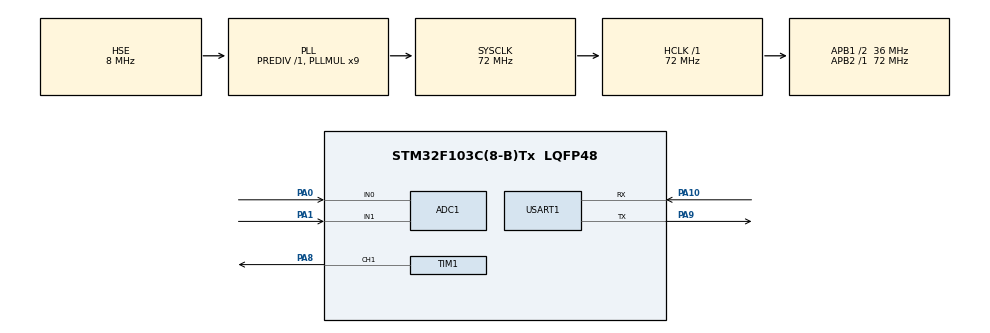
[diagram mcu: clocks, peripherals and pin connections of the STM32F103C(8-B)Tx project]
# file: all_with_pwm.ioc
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ADC1.Channel-0\#ChannelRegularConversion=ADC_CHANNEL_0
ADC1.Channel-1\#ChannelRegularConversion=ADC_CHANNEL_1
ADC1.NbrOfConversion=2
ADC1.NbrOfConversionFlag=1
ADC1.Rank-0\#ChannelRegularConversion=1
ADC1.Rank-1\#ChannelRegularConversion=2
ADC1.SamplingTime-0\#ChannelRegularConversion=ADC_SAMPLETIME_71CYCLES_5
ADC1.SamplingTime-1\#ChannelRegularConversion=ADC_SAMPLETIME_71CYCLES_5
ADC1.master=1
Dma.ADC1.0.Direction=DMA_PERIPH_TO_MEMORY
Dma.ADC1.0.Instance=DMA1_Channel1
Dma.ADC1.0.MemDataAlignment=DMA_MDATAALIGN_WORD
Dma.ADC1.0.MemInc=DMA_MINC_ENABLE
Dma.ADC1.0.Mode=DMA_CIRCULAR
Dma.ADC1.0.PeriphDataAlignment=DMA_PDATAALIGN_WORD
Dma.ADC1.0.PeriphInc=DMA_PINC_DISABLE
Dma.ADC1.0.Priority=DMA_PRIORITY_LOW
Dma.Request0=ADC1
Mcu.Family=STM32F1
Mcu.Name=STM32F103C(8-B)Tx
Mcu.Package=LQFP48
NVIC.ADC1_2_IRQn=true\:0\:0\:false\:false\:true\:true
NVIC.DMA1_Channel1_IRQn=true\:0\:0\:false\:false\:true\:false
NVIC.PriorityGroup=NVIC_PRIORITYGROUP_4
NVIC.USART1_IRQn=true\:0\:0\:false\:false\:true\:true
PA0-WKUP.Signal=ADCx_IN0
PA1.Signal=ADCx_IN1
PA10.Mode=Asynchronous
PA10.Signal=USART1_RX
PA13.Mode=Serial_Wire
PA13.Signal=SYS_JTMS-SWDIO
PA14.Mode=Serial_Wire
PA14.Signal=SYS_JTCK-SWCLK
PA8.Signal=S_TIM1_CH1
PA9.Mode=Asynchronous
PA9.Signal=USART1_TX
PD0-OSC_IN.Mode=HSE-External-Oscillator
PD0-OSC_IN.Signal=RCC_OSC_IN
PD1-OSC_OUT.Mode=HSE-External-Oscillator
PD1-OSC_OUT.Signal=RCC_OSC_OUT
ProjectManager.HeapSize=0x200
ProjectManager.StackSize=0x400
ProjectManager.TargetToolchain=MDK-ARM V5
RCC.ADCPresc=RCC_ADCPCLK2_DIV6
RCC.AHBFreq_Value=72000000
RCC.APB1CLKDivider=RCC_HCLK_DIV2
RCC.APB1Freq_Value=36000000
RCC.APB1TimFreq_Value=72000000
RCC.APB2Freq_Value=72000000
RCC.APB2TimFreq_Value=72000000
RCC.HCLKFreq_Value=72000000
RCC.PLLMUL=RCC_PLL_MUL9
RCC.PLLSourceVirtual=RCC_PLLSOURCE_HSE
RCC.SYSCLKFreq_VALUE=72000000
RCC.SYSCLKSource=RCC_SYSCLKSOURCE_PLLCLK
RCC.USBFreq_Value=72000000
SH.ADCx_IN0.0=ADC1_IN0,IN0
SH.ADCx_IN1.0=ADC1_IN1,IN1
SH.S_TIM1_CH1.0=TIM1_CH1,PWM Generation1 CH1
TIM1.Channel-PWM\ Generation1\ CH1=TIM_CHANNEL_1
TIM1.Period=4000
TIM1.Prescaler=71
USART1.VirtualMode=VM_ASYNC
board=all_with_pwm

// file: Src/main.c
/**
  ******************************************************************************
  * File Name          : main.c
  * Description        : Main program body
  ******************************************************************************
  ** This notice applies to any and all portions of this file
  * that are not between comment pairs USER CODE BEGIN and
  * USER CODE END. Other portions of this file, whether
  * inserted by the user or by software development tools
  * are owned by their respective copyright owners.
  *
  * COPYRIGHT(c) 2017 STMicroelectronics
  *
  * Redistribution and use in source and binary forms, with or without modification,
  * are permitted provided that the following conditions are met:
  *   1. Redistributions of source code must retain the above copyright notice,
  *      this list of conditions and the following disclaimer.
  *   2. Redistributions in binary form must reproduce the above copyright notice,
  *      this list of conditions and the following disclaimer in the documentation
  *      and/or other materials provided with the distribution.
  *   3. Neither the name of STMicroelectronics nor the names of its contributors
  *      may be used to endorse or promote products derived from this software
  *      without specific prior written permission.
  *
  * THIS SOFTWARE IS PROVIDED BY THE COPYRIGHT HOLDERS AND CONTRIBUTORS "AS IS"
  * AND ANY EXPRESS OR IMPLIED WARRANTIES, INCLUDING, BUT NOT LIMITED TO, THE
  * IMPLIED WARRANTIES OF MERCHANTABILITY AND FITNESS FOR A PARTICULAR PURPOSE ARE
  * DISCLAIMED. IN NO EVENT SHALL THE COPYRIGHT HOLDER OR CONTRIBUTORS BE LIABLE
  * FOR ANY DIRECT, INDIRECT, INCIDENTAL, SPECIAL, EXEMPLARY, OR CONSEQUENTIAL
  * DAMAGES (INCLUDING, BUT NOT LIMITED TO, PROCUREMENT OF SUBSTITUTE GOODS OR
  * SERVICES; LOSS OF USE, DATA, OR PROFITS; OR BUSINESS INTERRUPTION) HOWEVER
  * CAUSED AND ON ANY THEORY OF LIABILITY, WHETHER IN CONTRACT, STRICT LIABILITY,
  * OR TORT (INCLUDING NEGLIGENCE OR OTHERWISE) ARISING IN ANY WAY OUT OF THE USE
  * OF THIS SOFTWARE, EVEN IF ADVISED OF THE POSSIBILITY OF SUCH DAMAGE.
  *
  ******************************************************************************
  */
#include "main.h"
#include "stm32f1xx_hal.h"
#include "string.h"

ADC_HandleTypeDef hadc1;
DMA_HandleTypeDef hdma_adc1;

TIM_HandleTypeDef htim1;

UART_HandleTypeDef huart1;

/* USER CODE BEGIN PV */
/* Private variables ---------------------------------------------------------*/

/* USER CODE END PV */

void SystemClock_Config(void);
static void MX_GPIO_Init(void);
static void MX_DMA_Init(void);
static void MX_ADC1_Init(void);
static void MX_USART1_UART_Init(void);
static void MX_TIM1_Init(void);

void HAL_TIM_MspPostInit(TIM_HandleTypeDef *htim);
void HAL_ADC_ConvCpltCallback(ADC_HandleTypeDef* hadc);
void HAL_UART_RxCpltCallback(UART_HandleTypeDef *huart);
void check_commond(char* Rx_Buffer);
void pwmWrite(int time);

uint32_t joystick_X,joystick_Y,ADC_BUF[2];
char Rx_indx, Rx_data[2], Rx_Buffer[100], Transfer_cplt;
int pwm;
/* USER CODE BEGIN PFP */
/* Private function prototypes -----------------------------------------------*/

/* USER CODE END PFP */
//printf setting////////////////////////////////////////////////////////////////////////////
#ifdef __GNUC__
  /* With GCC/RAISONANCE, small printf (option LD Linker->Libraries->Small printf
     set to 'Yes') calls __io_putchar() */
  #define PUTCHAR_PROTOTYPE int __io_putchar(int ch)
#else
  #define PUTCHAR_PROTOTYPE int fputc(int ch, FILE *f)
#endif /* __GNUC__ */
/**
  * @brief  Retargets the C library printf function to the USART.
  * @param  None
  * @retval None
  */
PUTCHAR_PROTOTYPE
{
  /* Place your implementation of fputc here */
  /* e.g. write a character to the EVAL_COM1 and Loop until the end of transmission */
  HAL_UART_Transmit(&huart1, (uint8_t *)&ch, 1, 0xFFFF);

  return ch;
}
//////////////////////////////////////////////////////////////////////////////////////////////
/* USER CODE BEGIN 0 */
void HAL_TIM_PeriodElapsedCallback(TIM_HandleTypeDef *htim)
{

}
/* USER CODE END 0 */

int main(void)
{

  /* MCU Configuration----------------------------------------------------------*/

  /* Reset of all peripherals, Initializes the Flash interface and the Systick. */
  HAL_Init();

  /* Configure the system clock */
  SystemClock_Config();

  /* Initialize all configured peripherals */
  MX_GPIO_Init();
  MX_DMA_Init();
  MX_ADC1_Init();
  MX_USART1_UART_Init();
  MX_TIM1_Init();

  /* USER CODE BEGIN 2 */
	HAL_UART_Receive_IT(&huart1,(uint8_t*)Rx_data,1);
  HAL_ADC_Start_DMA(&hadc1,(uint32_t*)ADC_BUF,2);
	HAL_ADC_Start_IT(&hadc1);
  HAL_TIM_PWM_Start(&htim1,TIM_CHANNEL_1);
	/* USER CODE END 2 */

  /* Infinite loop */
  while (1)
  {

  /* USER CODE BEGIN 3 */
	HAL_ADC_Start_IT(&hadc1);
	pwmWrite(pwm);
	HAL_Delay(5);
  }
  /* USER CODE END 3 */

}

/** System Clock Configuration
*/
void SystemClock_Config(void)
{

  RCC_OscInitTypeDef RCC_OscInitStruct;
  RCC_ClkInitTypeDef RCC_ClkInitStruct;
  RCC_PeriphCLKInitTypeDef PeriphClkInit;

    /**Initializes the CPU, AHB and APB busses clocks
    */
  RCC_OscInitStruct.OscillatorType = RCC_OSCILLATORTYPE_HSE;
  RCC_OscInitStruct.HSEState = RCC_HSE_ON;
  RCC_OscInitStruct.HSEPredivValue = RCC_HSE_PREDIV_DIV1;
  RCC_OscInitStruct.HSIState = RCC_HSI_ON;
  RCC_OscInitStruct.PLL.PLLState = RCC_PLL_ON;
  RCC_OscInitStruct.PLL.PLLSource = RCC_PLLSOURCE_HSE;
  RCC_OscInitStruct.PLL.PLLMUL = RCC_PLL_MUL9;
  if (HAL_RCC_OscConfig(&RCC_OscInitStruct) != HAL_OK)
  {
    _Error_Handler(__FILE__, __LINE__);
  }

    /**Initializes the CPU, AHB and APB busses clocks
    */
  RCC_ClkInitStruct.ClockType = RCC_CLOCKTYPE_HCLK|RCC_CLOCKTYPE_SYSCLK
                              |RCC_CLOCKTYPE_PCLK1|RCC_CLOCKTYPE_PCLK2;
  RCC_ClkInitStruct.SYSCLKSource = RCC_SYSCLKSOURCE_PLLCLK;
  RCC_ClkInitStruct.AHBCLKDivider = RCC_SYSCLK_DIV1;
  RCC_ClkInitStruct.APB1CLKDivider = RCC_HCLK_DIV2;
  RCC_ClkInitStruct.APB2CLKDivider = RCC_HCLK_DIV1;

  if (HAL_RCC_ClockConfig(&RCC_ClkInitStruct, FLASH_LATENCY_2) != HAL_OK)
  {
    _Error_Handler(__FILE__, __LINE__);
  }

  PeriphClkInit.PeriphClockSelection = RCC_PERIPHCLK_ADC;
  PeriphClkInit.AdcClockSelection = RCC_ADCPCLK2_DIV6;
  if (HAL_RCCEx_PeriphCLKConfig(&PeriphClkInit) != HAL_OK)
  {
    _Error_Handler(__FILE__, __LINE__);
  }

    /**Configure the Systick interrupt time
    */
  HAL_SYSTICK_Config(HAL_RCC_GetHCLKFreq()/1000);

    /**Configure the Systick
    */
  HAL_SYSTICK_CLKSourceConfig(SYSTICK_CLKSOURCE_HCLK);

  /* SysTick_IRQn interrupt configuration */
  HAL_NVIC_SetPriority(SysTick_IRQn, 0, 0);
}

/* ADC1 init function */
static void MX_ADC1_Init(void)
{

  ADC_ChannelConfTypeDef sConfig;

    /**Common config
    */
  hadc1.Instance = ADC1;
  hadc1.Init.ScanConvMode = ADC_SCAN_ENABLE;
  hadc1.Init.ContinuousConvMode = DISABLE;
  hadc1.Init.DiscontinuousConvMode = DISABLE;
  hadc1.Init.ExternalTrigConv = ADC_SOFTWARE_START;
  hadc1.Init.DataAlign = ADC_DATAALIGN_RIGHT;
  hadc1.Init.NbrOfConversion = 2;
  if (HAL_ADC_Init(&hadc1) != HAL_OK)
  {
    _Error_Handler(__FILE__, __LINE__);
  }

    /**Configure Regular Channel
    */
  sConfig.Channel = ADC_CHANNEL_0;
  sConfig.Rank = 1;
  sConfig.SamplingTime = ADC_SAMPLETIME_71CYCLES_5;
  if (HAL_ADC_ConfigChannel(&hadc1, &sConfig) != HAL_OK)
  {
    _Error_Handler(__FILE__, __LINE__);
  }

    /**Configure Regular Channel
    */
  sConfig.Channel = ADC_CHANNEL_1;
  sConfig.Rank = 2;
  if (HAL_ADC_ConfigChannel(&hadc1, &sConfig) != HAL_OK)
  {
    _Error_Handler(__FILE__, __LINE__);
  }

}

/* TIM1 init function */
static void MX_TIM1_Init(void)
{

  TIM_MasterConfigTypeDef sMasterConfig;
  TIM_OC_InitTypeDef sConfigOC;
  TIM_BreakDeadTimeConfigTypeDef sBreakDeadTimeConfig;

  htim1.Instance = TIM1;
  htim1.Init.Prescaler = 72-1;
  htim1.Init.CounterMode = TIM_COUNTERMODE_UP;
  htim1.Init.Period = 20000-1;
  htim1.Init.ClockDivision = TIM_CLOCKDIVISION_DIV1;
  htim1.Init.RepetitionCounter = 0;
  htim1.Init.AutoReloadPreload = TIM_AUTORELOAD_PRELOAD_DISABLE;
  if (HAL_TIM_PWM_Init(&htim1) != HAL_OK)
  {
    _Error_Handler(__FILE__, __LINE__);
  }

  sMasterConfig.MasterOutputTrigger = TIM_TRGO_RESET;
  sMasterConfig.MasterSlaveMode = TIM_MASTERSLAVEMODE_DISABLE;
  if (HAL_TIMEx_MasterConfigSynchronization(&htim1, &sMasterConfig) != HAL_OK)
  {
    _Error_Handler(__FILE__, __LINE__);
  }

  sConfigOC.OCMode = TIM_OCMODE_PWM1;
  sConfigOC.Pulse = 0;
  sConfigOC.OCPolarity = TIM_OCPOLARITY_HIGH;
  sConfigOC.OCNPolarity = TIM_OCNPOLARITY_HIGH;
  sConfigOC.OCFastMode = TIM_OCFAST_DISABLE;
  sConfigOC.OCIdleState = TIM_OCIDLESTATE_RESET;
  sConfigOC.OCNIdleState = TIM_OCNIDLESTATE_RESET;
  if (HAL_TIM_PWM_ConfigChannel(&htim1, &sConfigOC, TIM_CHANNEL_1) != HAL_OK)
  {
    _Error_Handler(__FILE__, __LINE__);
  }

  sBreakDeadTimeConfig.OffStateRunMode = TIM_OSSR_DISABLE;
  sBreakDeadTimeConfig.OffStateIDLEMode = TIM_OSSI_DISABLE;
  sBreakDeadTimeConfig.LockLevel = TIM_LOCKLEVEL_OFF;
  sBreakDeadTimeConfig.DeadTime = 0;
  sBreakDeadTimeConfig.BreakState = TIM_BREAK_DISABLE;
  sBreakDeadTimeConfig.BreakPolarity = TIM_BREAKPOLARITY_HIGH;
  sBreakDeadTimeConfig.AutomaticOutput = TIM_AUTOMATICOUTPUT_DISABLE;
  if (HAL_TIMEx_ConfigBreakDeadTime(&htim1, &sBreakDeadTimeConfig) != HAL_OK)
  {
    _Error_Handler(__FILE__, __LINE__);
  }

  HAL_TIM_MspPostInit(&htim1);

}

/* USART1 init function */
static void MX_USART1_UART_Init(void)
{

  huart1.Instance = USART1;
  huart1.Init.BaudRate = 115200;
  huart1.Init.WordLength = UART_WORDLENGTH_8B;
  huart1.Init.StopBits = UART_STOPBITS_1;
  huart1.Init.Parity = UART_PARITY_NONE;
  huart1.Init.Mode = UART_MODE_TX_RX;
  huart1.Init.HwFlowCtl = UART_HWCONTROL_NONE;
  huart1.Init.OverSampling = UART_OVERSAMPLING_16;
  if (HAL_UART_Init(&huart1) != HAL_OK)
  {
    _Error_Handler(__FILE__, __LINE__);
  }

}

static void MX_DMA_Init(void)
{
  /* DMA controller clock enable */
  __HAL_RCC_DMA1_CLK_ENABLE();

  /* DMA interrupt init */
  /* DMA1_Channel1_IRQn interrupt configuration */
  HAL_NVIC_SetPriority(DMA1_Channel1_IRQn, 0, 0);
  HAL_NVIC_EnableIRQ(DMA1_Channel1_IRQn);

}

/** Configure pins as
        * Analog
        * Input
        * Output
        * EVENT_OUT
        * EXTI
*/
static void MX_GPIO_Init(void)
{

  /* GPIO Ports Clock Enable */
  __HAL_RCC_GPIOD_CLK_ENABLE();
  __HAL_RCC_GPIOA_CLK_ENABLE();

}

/* USER CODE BEGIN 4 */
void HAL_ADC_ConvCpltCallback(ADC_HandleTypeDef* hadc)
{

	if(hadc->Instance==ADC1)
	{
		joystick_X=ADC_BUF[0];
		joystick_Y=ADC_BUF[1];
		pwm = (int)(((float)joystick_X/4039)*1000+1000);
		printf("X: %d %d\n",joystick_X,pwm);
	}
}

void pwmWrite(int time)
{
__HAL_TIM_SET_COMPARE(&htim1, TIM_CHANNEL_1, (int)((time*0.000001)/(0.02
	)*20000));

}
/* USER CODE END 4 */

void _Error_Handler(char * file, int line)
{
  while(1)
  {
  }
}

/************************ (C) COPYRIGHT STMicroelectronics *****END OF FILE****/
